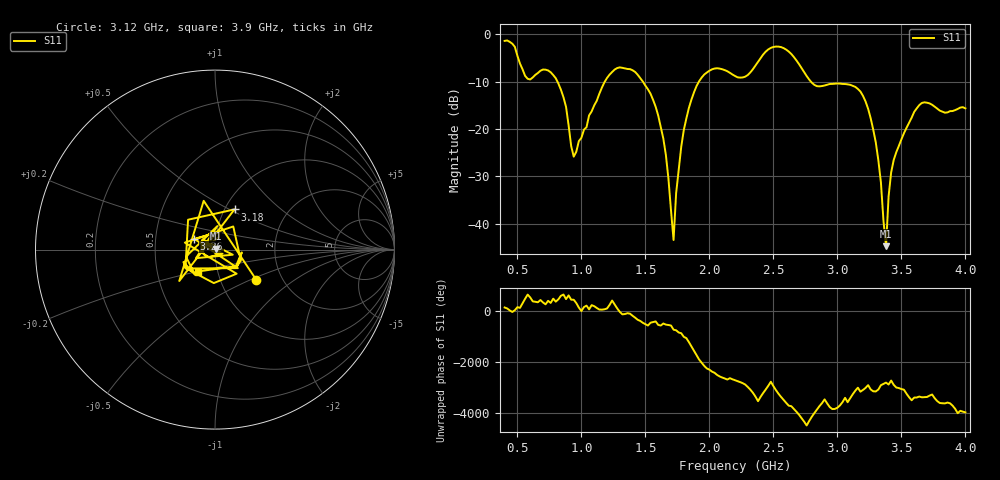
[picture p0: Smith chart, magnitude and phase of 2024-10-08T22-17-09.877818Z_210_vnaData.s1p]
! Created with skrf (http://scikit-rf.org).
# Hz S RI R 50.0
!freq ReS11 ImS11
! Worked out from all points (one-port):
!   181 points, 400 MHz to 4 GHz, reference 50 ohm
!   lowest |S11| = -44.7 dB at 3.38 GHz (marker M1), VSWR 1.01, Z = 50.3 + j0.512 ohm
!   |S11| at or under -10 dB: 813.1 MHz to 1.182 GHz (369.3 MHz wide, 37 % of centre); 1.481 GHz to 1.918 GHz (436.9 MHz wide, 25.7 % of centre); 2.794 GHz to end of sweep
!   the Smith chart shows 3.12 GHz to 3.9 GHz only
!   S11 on the Smith chart (normalised r, x): 3.12 GHz: 1.48, -0.55; 3.18 GHz: 1.11, +0.53; 3.26 GHz: 0.79, +0.10; 3.9 GHz: 0.80, -0.20
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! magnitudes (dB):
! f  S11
! 400 MHz  -1.4
! 580 MHz  -9.4
! 740 MHz  -7.6
! 860 MHz  -13.3
! 940 MHz  -25.8
! 1.18 GHz  -10.1
! 1.3 GHz  -7.0
! 1.58 GHz  -15.3
! 1.66 GHz  -25.5
! 1.72 GHz  -43.4
! 1.76 GHz  -28.7
! 1.82 GHz  -17.8
! 1.92 GHz  -9.9
! 2.2 GHz  -8.8
! 2.5 GHz  -2.7
! 2.66 GHz  -4.8
! 2.84 GHz  -10.9
! 3.1 GHz  -10.7
! 3.12 GHz  -10.9
! 3.18 GHz  -12.1
! 3.26 GHz  -17.7
! 3.32 GHz  -26.6
! 3.38 GHz  -44.7
! 3.42 GHz  -29.1
! 3.56 GHz  -18.7
! 3.66 GHz  -14.5
! 3.9 GHz  -16.2
! 4 GHz  -15.6
